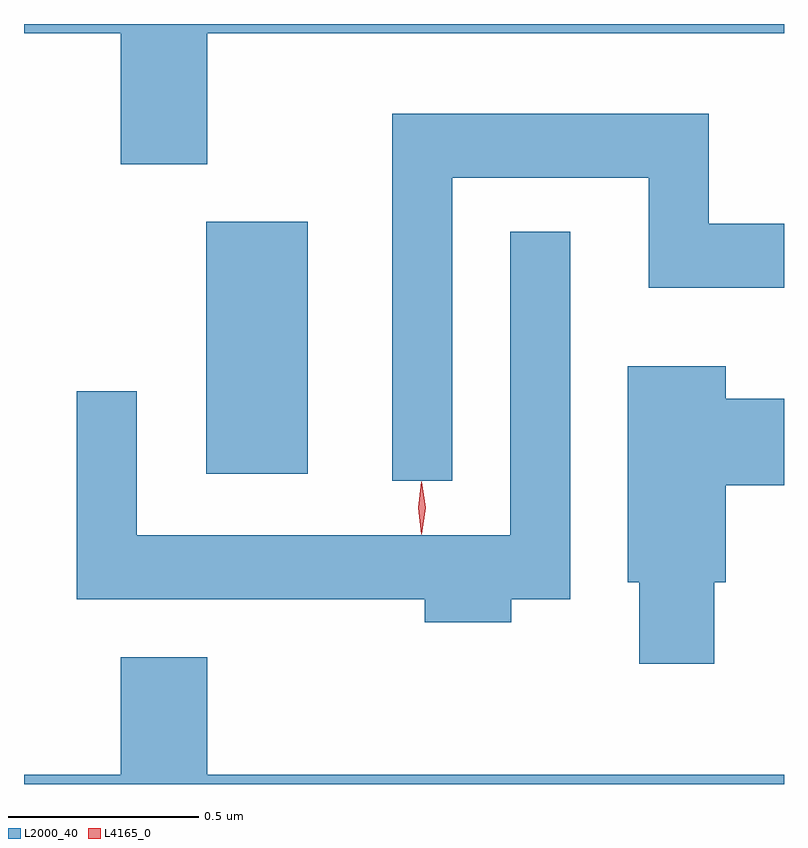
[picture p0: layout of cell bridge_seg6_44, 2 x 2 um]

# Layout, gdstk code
import gdstk
lib = gdstk.Library(unit=1e-6, precision=1e-09)
def R(c, l, rs):  # rectangles x0, y0, x1, y1
    for r in rs: c.add(gdstk.rectangle(r[:2], r[2:], *l))
def P(c, l, *ps):  # polygons
    for p in ps: c.add(gdstk.Polygon(p, *l))
L2000_40 = (2000, 40)
L4165_0 = (4165, 0)

bridge_seg6_44 = lib.new_cell('bridge_seg6_44')
R(bridge_seg6_44, L2000_40, [(1483.626,1646.556,1483.894,1647.219)])
P(bridge_seg6_44, L2000_40, [(1483.629,1647.716),(1485.147,1647.716),(1485.147,1647.74),(1483.147,1647.74),(1483.147,1647.716),(1483.401,1647.716),(1483.401,1647.371),(1483.629,1647.371)],
  [(1484.274,1647.336),(1484.791,1647.336),(1484.791,1647.046),(1485.147,1647.046),(1485.147,1647.214),(1484.949,1647.214),(1484.949,1647.504),(1484.116,1647.504),(1484.116,1646.538),(1484.274,1646.538)],
  [(1484.429,1646.226),(1484.584,1646.226),(1484.584,1647.193),(1484.426,1647.193),(1484.426,1646.394),(1483.444,1646.394),(1483.444,1646.773),(1483.286,1646.773),(1483.286,1646.226),(1484.201,1646.226),(1484.201,1646.166),(1484.429,1646.166)],
  [(1484.964,1646.271),(1484.994,1646.271),(1484.994,1646.526),(1485.147,1646.526),(1485.147,1646.754),(1484.994,1646.754),(1484.994,1646.839),(1484.736,1646.839),(1484.736,1646.271),(1484.766,1646.271),(1484.766,1646.056),(1484.964,1646.056)],
  [(1485.147,1645.764),(1483.629,1645.764),(1483.629,1646.074),(1483.401,1646.074),(1483.401,1645.764),(1483.147,1645.764),(1483.147,1645.74),(1485.147,1645.74)])
P(bridge_seg6_44, L4165_0, [(1484.193,1646.397),(1484.184,1646.467),(1484.193,1646.536),(1484.194,1646.536),(1484.194,1646.536),(1484.204,1646.467),(1484.194,1646.397),(1484.194,1646.397)])

lib.write_gds('bridge_seg6_44.gds')
